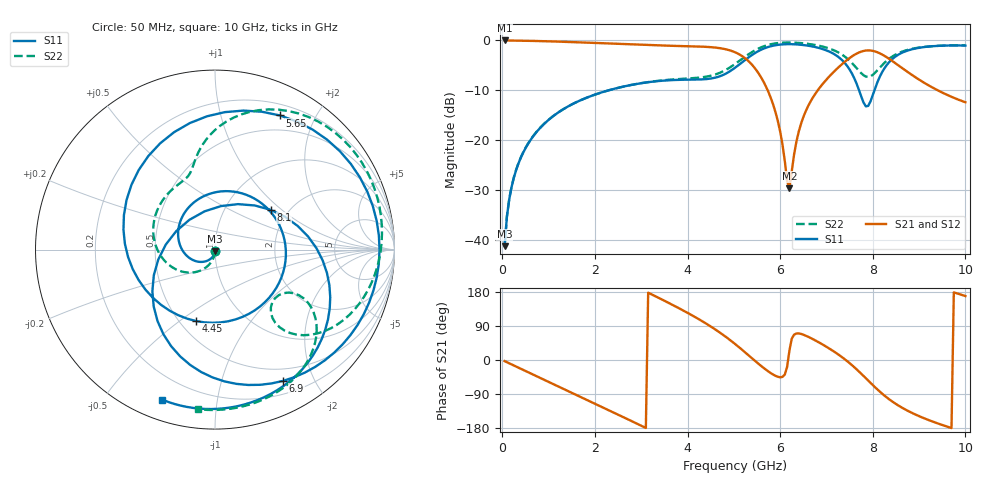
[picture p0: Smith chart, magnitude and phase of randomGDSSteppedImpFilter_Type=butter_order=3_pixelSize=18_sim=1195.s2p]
! freq	dB(S11)	phase(S11)	dB(S12)	phase(S12)
!  dB(S21)	phase(S21)	dB(S22)	phase(S22)
!S-par simulation data
#  GHz  S  DB  R 50
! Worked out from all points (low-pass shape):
!   200 points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, 50 MHz to 10 GHz, reference 50 ohm
!   highest |S21| = -0.01 dB at 50 MHz (marker M1); lowest = -29.6 dB at 6.2 GHz (marker M2)
!   |S21| within 3 dB of the highest: start of sweep to 5.157 GHz; 7.582 GHz to 8.237 GHz (655 MHz wide, 8.28 % of centre)
!   lowest |S11| = -41.2 dB at 50 MHz (marker M3), VSWR 1.02, Z = 50 - j0.872 ohm
!   |S11| at or under -10 dB: start of sweep to 2.292 GHz; 7.705 GHz to 8.035 GHz (330.4 MHz wide, 4.2 % of centre)
!   |S22| runs from -41.1 to -0.4 dB; largest |S21 - S12| = 0
!   S11 on the Smith chart (normalised r, x): 50 MHz: 1.00, -0.02; 4.45 GHz: 0.60, -0.57; 5.65 GHz: 0.32, +1.55; 6.9 GHz: 0.35, -1.59; 8.1 GHz: 1.63, +0.84; 10 GHz: 0.09, -0.71
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0.05  -41.19 -86.7  -0.01 -2.9  -0.01 -2.9  -41.12 -84.8
0.2  -29.37 -103.8  -0.03 -11.6  -0.03 -11.6  -29.29 -96.4
0.5  -21.60 -128.4  -0.07 -29.0  -0.07 -29.0  -21.54 -109.8
1.75  -11.74 134.5  -0.42 -100.8  -0.42 -100.8  -11.74 -157.9
2.65  -9.17 64.1  -0.76 -152.9  -0.76 -152.9  -9.17 168.8
3.4  -8.11 3.5  -1.01 162.5  -1.01 162.5  -8.05 141.0
4.45  -7.70 -105.1  -1.32 92.4  -1.32 92.4  -7.18 109.8
5.05  -5.31 159.2  -2.48 40.0  -2.48 40.0  -4.57 96.5
5.4  -2.87 101.2  -4.96 3.7  -4.96 3.7  -2.29 78.9
5.65  -1.62 64.2  -8.43 -21.6  -8.43 -21.6  -1.16 61.9
5.95  -0.89 26.4  -16.13 -44.3  -16.13 -44.3  -0.53 40.7
6.2  -0.75 -0.1  -29.59 24.6  -29.59 24.6  -0.42 24.1
6.4  -0.84 -19.0  -18.31 70.1  -18.31 70.1  -0.50 11.6
6.7  -1.22 -45.2  -11.54 55.5  -11.54 55.5  -0.83 -6.1
6.9  -1.68 -62.6  -8.92 42.1  -8.92 42.1  -1.20 -17.5
7.25  -3.27 -96.4  -5.47 15.1  -5.47 15.1  -2.38 -36.7
7.6  -7.56 -146.5  -2.91 -18.9  -2.91 -18.9  -5.02 -50.3
7.85  -13.20 130.7  -2.03 -48.1  -2.03 -48.1  -7.24 -42.8
8.1  -8.37 35.5  -2.38 -77.7  -2.38 -77.7  -5.98 -29.0
8.35  -4.39 -5.8  -3.67 -103.3  -3.67 -103.3  -3.70 -32.6
9.1  -1.34 -66.2  -8.43 -153.3  -8.43 -153.3  -1.31 -64.0
10  -1.05 -109.3  -12.39 168.8  -12.39 168.8  -0.97 -96.0
